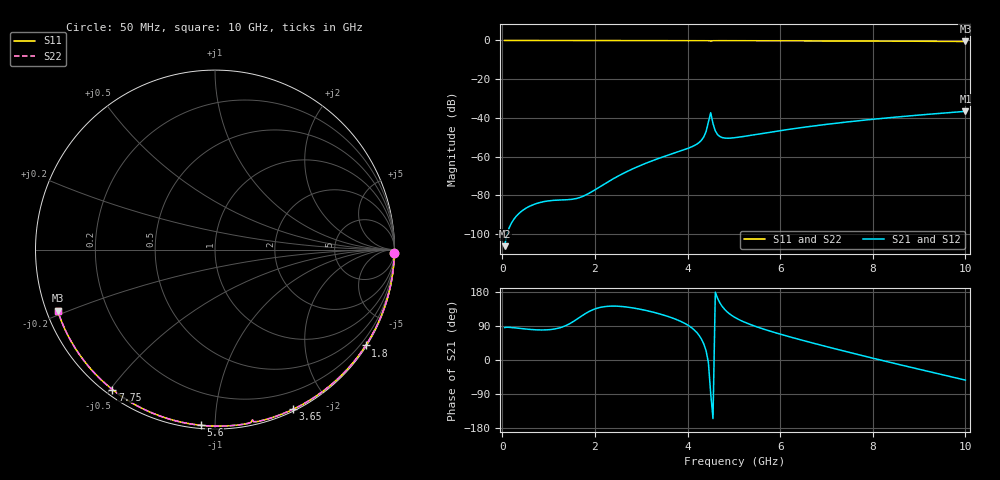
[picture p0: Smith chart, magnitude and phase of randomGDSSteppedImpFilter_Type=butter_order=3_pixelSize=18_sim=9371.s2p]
! freq	dB(S11)	phase(S11)	dB(S12)	phase(S12)
!  dB(S21)	phase(S21)	dB(S22)	phase(S22)
!S-par simulation data
#  GHz  S  DB  R 50
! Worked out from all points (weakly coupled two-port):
!   200 points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, 50 MHz to 10 GHz, reference 50 ohm
!   highest |S21| = -36.62 dB at 10 GHz (marker M1); lowest = -106.2 dB at 50 MHz (marker M2)
!   lowest |S11| = -0.5 dB at 10 GHz (marker M3), VSWR 32.58, Z = 1.59 - j9.37 ohm
!   |S11| at or under -10 dB: nowhere
!   |S22| runs from -0.5 to 0.0 dB; largest |S21 - S12| = 0
!   S11 on the Smith chart (normalised r, x): 50 MHz: open; 1.8 GHz: 0.03, -3.43; 3.65 GHz: 0.02, -1.60; 5.6 GHz: 0.02, -0.92; 7.75 GHz: 0.02, -0.51; 10 GHz: 0.03, -0.19
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0.05  -0.00 -0.9  -106.23 85.8  -106.23 85.8  -0.00 -0.9
0.9  -0.02 -16.4  -83.21 79.3  -83.21 79.3  -0.02 -16.4
1.75  -0.04 -31.6  -80.40 119.0  -80.40 119.0  -0.04 -31.6
1.8  -0.04 -32.5  -79.85 122.9  -79.85 122.9  -0.04 -32.5
2.65  -0.06 -47.2  -68.20 140.3  -68.20 140.3  -0.06 -47.2
3.4  -0.08 -59.9  -60.71 121.5  -60.71 121.5  -0.08 -59.9
3.65  -0.09 -64.0  -58.65 111.9  -58.65 111.9  -0.09 -64.0
4.1  -0.10 -71.4  -54.82 84.1  -54.82 84.1  -0.10 -71.4
4.3  -0.11 -74.7  -51.54 55.3  -51.54 55.3  -0.11 -74.7
4.35  -0.11 -75.5  -49.83 42.6  -49.83 42.6  -0.11 -75.5
4.4  -0.12 -76.4  -47.08 24.8  -47.08 24.8  -0.12 -76.4
4.5  -0.25 -77.6  -37.29 -88.0  -37.29 -88.0  -0.25 -77.6
4.55  -0.15 -78.1  -42.98 -154.5  -42.98 -154.5  -0.15 -78.1
4.6  -0.13 -79.1  -46.73 179.1  -46.73 179.1  -0.13 -79.1
4.65  -0.12 -79.9  -48.66 162.4  -48.66 162.4  -0.12 -79.9
4.8  -0.13 -82.3  -50.38 133.8  -50.38 133.8  -0.13 -82.3
5.05  -0.13 -86.3  -50.13 110.6  -50.13 110.6  -0.13 -86.3
5.6  -0.16 -94.7  -48.07 83.2  -48.07 83.2  -0.16 -94.7
6.7  -0.22 -111.1  -44.23 44.9  -44.23 44.9  -0.22 -111.1
7.75  -0.29 -126.2  -41.32 12.3  -41.32 12.3  -0.29 -126.2
8.35  -0.35 -134.8  -39.91 -5.5  -39.91 -5.5  -0.35 -134.8
10  -0.53 -158.8  -36.62 -53.0  -36.62 -53.0  -0.53 -158.8
